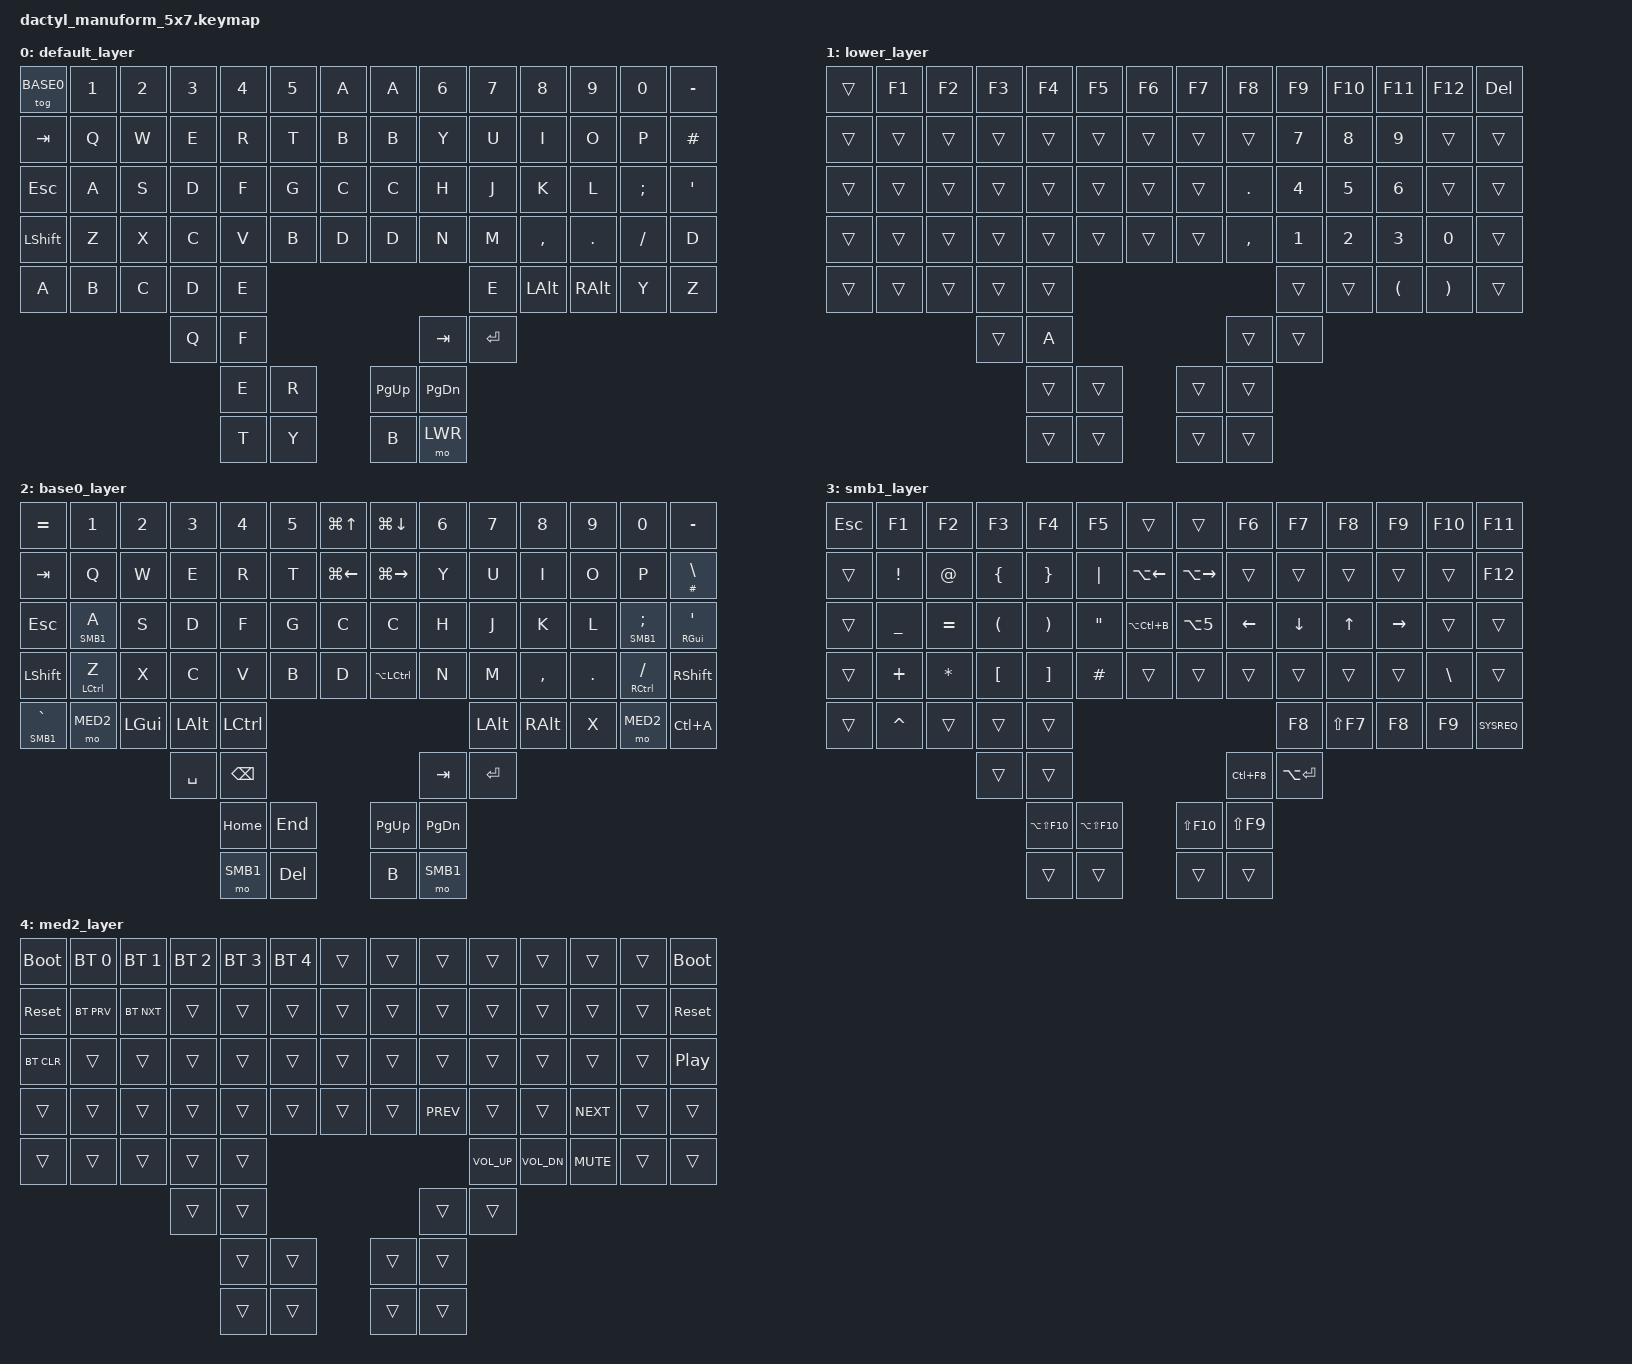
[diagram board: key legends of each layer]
#include <behaviors.dtsi>
#include <dt-bindings/zmk/keys.h>
#include <dt-bindings/zmk/bt.h>
#include <dt-bindings/zmk/ext_power.h>
#include <dt-bindings/zmk/outputs.h>

#define DEFAULT 0
#define LWR 1
#define BASE0 2
#define SMB1 3
#define MED2 4


/ {
    behaviors {
        ht_tp: hold_tap_tap_preferred {
            compatible = "zmk,behavior-hold-tap";
            label = "HOLD_TAP";
            tapping-term-ms = <200>;
            quick-tap-ms = <0>;
            flavor = "tap-preferred";
            bindings = <&kp>, <&kp>;
        };
    };
    keymap {
        compatible = "zmk,keymap";

        default_layer {
            bindings = <
                &tog BASE0 &kp N1   &kp N2   &kp N3    &kp N4 &kp N5 &kp A       &kp A    &kp N6  &kp N7 &kp N8    &kp N9    &kp N0    &kp MINUS
                &kp  TAB   &kp Q    &kp W    &kp E     &kp R  &kp T  &kp B       &kp B    &kp Y   &kp U  &kp I     &kp O     &kp P     &kp HASH
                &kp  ESC   &kp A    &kp S    &kp D     &kp F  &kp G  &kp C       &kp C    &kp H   &kp J  &kp K     &kp L     &kp SEMI  &kp SQT
                &kp  LSHFT &kp Z    &kp X    &kp C     &kp V  &kp B  &kp D       &kp D    &kp N   &kp M  &kp COMMA &kp DOT   &kp FSLH  &kp D
                &kp  A     &kp B    &kp C    &kp D     &kp E                                      &kp E  &kp LALT  &kp RALT  &kp Y     &kp Z
                                            &kp Q     &kp F                              &kp TAB &kp RET
                                                      &kp E     &kp R           &kp PAGE_UP &kp PAGE_DOWN
                                                      &kp T     &kp Y           &kp B    &mo LWR
            >;
        };

        lower_layer {
            bindings = <
                &trans  &kp F1 &kp F2    &kp F3 &kp F4 &kp F5 &kp F6          &kp F7 &kp F8    &kp F9   &kp F10  &kp F11  &kp F12   &kp DEL
                &trans  &trans &trans    &trans &trans &trans &trans          &trans &trans    &kp N7   &kp N8   &kp N9   &trans    &trans
                &trans  &trans &trans    &trans &trans &trans &trans          &trans &kp DOT   &kp N4   &kp N5   &kp N6   &trans    &trans
                &trans  &trans &trans    &trans &trans &trans &trans          &trans &kp COMMA &kp N1   &kp N2   &kp N3   &kp N0    &trans
                &trans  &trans &trans    &trans &trans                                         &trans   &trans   &kp LPAR &kp RPAR  &trans
                                                 &trans &kp A                        &trans    &trans
                                                        &trans &trans         &trans &trans
                                                        &trans &trans         &trans &trans
            >;
        };

        base0_layer {
            bindings = <
                &kp EQUAL      &kp N1      &kp N2    &kp N3     &kp N4 &kp N5 &kp LG(UP)     &kp LG(DOWN)  &kp N6      &kp N7   &kp N8    &kp N9    &kp N0         &kp MINUS
                &kp TAB        &kp Q       &kp W     &kp E      &kp R  &kp T  &kp LG(LEFT)   &kp LG(RIGHT) &kp Y       &kp U    &kp I     &kp O     &kp P          &ht_tp HASH BSLH
                &kp ESC        &lt SMB1 A  &kp S     &kp D      &kp F  &kp G  &kp C          &kp C         &kp H       &kp J    &kp K     &kp L     &lt SMB1 SEMI  &mt RGUI SQT
                &kp LSHFT      &mt LCTRL Z &kp X     &kp C      &kp V  &kp B  &kp D          &kp LA(LCTRL) &kp N       &kp M    &kp COMMA &kp DOT   &mt RCTRL FSLH &kp RSHFT
                &lt SMB1 GRAVE &mo MED2    &kp LGUI  &kp LALT   &kp LCTRL                                              &kp LALT &kp RALT  &kp X     &mo MED2       &kp LC(A)
                                           &kp SPACE &kp BSPC                                              &kp TAB     &kp RET
                                                     &kp HOME &kp END                        &kp PG_UP     &kp PG_DN
                                                     &mo SMB1 &kp DEL                        &kp B         &mo SMB1
            >;
        };

        smb1_layer {
            bindings = <
                &kp ESC &kp F1    &kp F2    &kp F3   &kp F4   &kp F5    &trans                 &trans        &kp F6     &kp F7   &kp F8     &kp F9    &kp F10   &kp F11
                &trans  &kp EXCL  &kp AT    &kp LBRC &kp RBRC &kp PIPE  &kp LA(LEFT)           &kp LA(RIGHT) &trans     &trans   &trans     &trans    &trans    &kp F12
                &trans  &kp UNDER &kp EQUAL &kp LPAR &kp RPAR &kp DQT   &kp LA(LC(B))          &kp LA(N5)    &kp LEFT   &kp DOWN &kp UP     &kp RIGHT &trans    &trans
                &trans  &kp PLUS  &kp ASTRK &kp LBKT &kp RBKT &kp HASH  &trans                 &trans        &trans     &trans   &trans     &trans    &kp BSLH  &trans
                &trans  &kp CARET &trans    &trans   &trans                                                             &kp F8   &kp LS(F7) &kp F8    &kp F9    &kp SYSREQ
                                                     &trans   &trans                                         &kp LC(F8) &kp LA(RET)
                                                        &kp LA(LS(F10)) &kp LA(LS(F10))        &kp LS(F10)   &kp LS(F9)
                                                        &trans          &trans                 &trans        &trans
            >;
        };

        med2_layer {
            bindings = <
                &bootloader &bt BT_SEL 0 &bt BT_SEL 1 &bt BT_SEL 2 &bt BT_SEL 3 &bt BT_SEL 4 &trans          &trans &trans     &trans       &trans       &trans     &trans &bootloader
                &sys_reset  &bt BT_PRV   &bt BT_NXT   &trans       &trans &trans &trans          &trans &trans     &trans       &trans       &trans     &trans &sys_reset
                &bt BT_CLR  &trans       &trans       &trans       &trans &trans &trans          &trans &trans     &trans       &trans       &trans     &trans &kp C_PP
                &trans      &trans       &trans       &trans       &trans &trans &trans          &trans &kp C_PREV &trans       &trans       &kp C_NEXT &trans &trans
                &trans      &trans       &trans       &trans       &trans                                          &kp C_VOL_UP &kp C_VOL_DN &kp C_MUTE &trans &trans
                                                                   &trans &trans                        &trans     &trans
                                                                          &trans &trans          &trans &trans
                                                                          &trans &trans          &trans &trans
            >;
        };
    };
};
